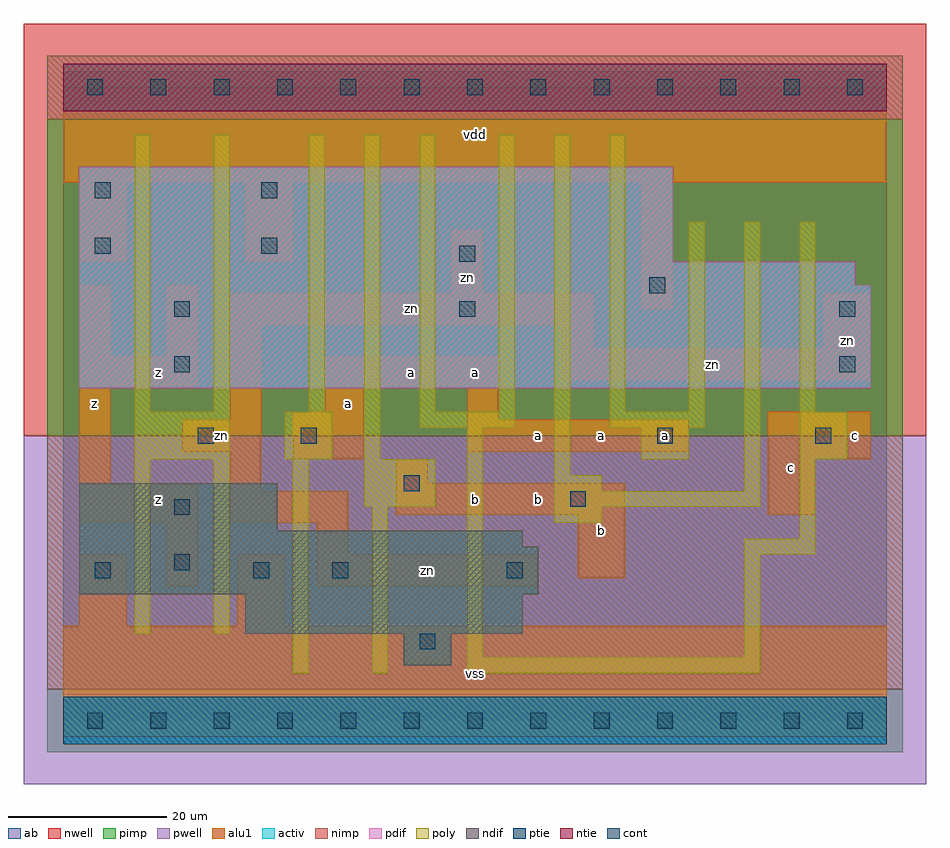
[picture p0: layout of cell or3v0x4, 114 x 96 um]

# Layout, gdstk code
import gdstk
lib = gdstk.Library(unit=1e-6, precision=1e-09)
def R(c, l, rs):  # rectangles x0, y0, x1, y1
    for r in rs: c.add(gdstk.rectangle(r[:2], r[2:], *l))
def A(c, l, x, y, w, h, nx, ny, dx, dy):  # array of equal rectangles
    R(c, l, [(x+i*dx, y+j*dy, x+i*dx+w, y+j*dy+h) for i in range(nx) for j in range(ny)])
ndif = (3, 0)
pdif = (4, 0)
ntie = (5, 0)
ptie = (6, 0)
cont = (25, 0)
pwell = (41, 0)
nwell = (42, 0)
activ = (43, 0)
pimp = (44, 0)
nimp = (45, 0)
poly = (46, 0)
alu1 = (49, 0)
ab = (63, 0)

or3v0x4 = lib.new_cell('or3v0x4')
R(or3v0x4, ndif, [(43,7,49,11), (23,11,58,16), (2,16,60,22), (2,22,58,24), (2,24,27,30)])
R(or3v0x4, pdif, [(2,42,102,55), (2,55,100,58), (2,58,77,70)])
R(or3v0x4, ntie, [(0,77,104,83)])
R(or3v0x4, ptie, [(0,-3,104,3)])
A(or3v0x4, cont, 3, -1, 2, 2, 13, 2, 8, 80)
R(or3v0x4, cont, [(45,9,47,11), (4,18,6,20), (24,18,26,20), (34,18,36,20), (56,18,58,20), (14,19,16,21), (14,26,16,28), (64,27,66,29), (43,29,45,31), (17,35,19,37), (30,35,32,37), (75,35,77,37), (95,35,97,37), (14,44,16,46), (98,44,100,46), (14,51,16,53), (50,51,52,53), (98,51,100,53), (74,54,76,56), (50,58,52,60), (4,59,6,61), (25,59,27,61), (4,66,6,68), (25,66,27,68)])
R(or3v0x4, pwell, [(-5,-8,109,36)])
R(or3v0x4, nwell, [(-5,36,109,88)])
R(or3v0x4, activ, [(0,-3,104,3), (43,7,49,11), (23,11,58,16), (2,16,60,22), (2,22,58,24), (2,24,27,30), (2,42,102,55), (2,55,100,58), (2,58,77,70), (0,77,104,83)])
R(or3v0x4, pimp, [(-2,-4,106,4), (-2,36,106,76)])
R(or3v0x4, nimp, [(-2,4,106,36), (-2,76,106,84)])
R(or3v0x4, poly, [(29,6,31,33), (39,6,41,27), (51,6,88,8), (51,8,53,37), (86,8,88,21), (9,11,11,33), (19,11,21,33), (86,21,95,23), (93,23,95,33), (62,25,68,27), (38,27,47,33), (62,27,88,29), (62,29,68,31), (86,29,88,63), (62,31,64,74), (9,33,21,39), (28,33,34,39), (38,33,40,74), (73,33,79,37), (93,33,99,39), (45,37,57,39), (69,37,81,39), (9,39,11,74), (19,39,21,74), (31,39,33,74), (45,39,47,74), (55,39,57,74), (69,39,71,74), (79,39,81,63), (93,39,95,63)])
R(or3v0x4, alu1, [(0,-2,104,12), (2,12,8,21), (22,12,28,21), (13,17,17,25), (32,17,60,21), (65,18,71,26), (32,21,36,25), (2,25,17,30), (21,25,36,29), (42,26,71,30), (89,26,95,33), (21,29,25,34), (2,30,6,42), (42,30,46,33), (29,33,38,39), (89,33,102,39), (15,34,25,38), (51,34,79,38), (21,38,25,50), (51,38,55,42), (33,39,38,42), (2,42,17,46), (33,42,55,46), (63,43,102,47), (2,46,6,55), (13,46,17,55), (63,47,67,50), (96,47,102,54), (21,50,67,54), (73,52,77,68), (49,54,53,62), (2,58,8,68), (23,58,29,68), (0,68,104,82)])
R(or3v0x4, ab, [(0,0,104,80)])
or3v0x4.add(gdstk.Label('zn', (20,36), layer=49, texttype=0))
or3v0x4.add(gdstk.Label('zn', (46,19), layer=49, texttype=0))
or3v0x4.add(gdstk.Label('zn', (44,52), layer=49, texttype=0))
or3v0x4.add(gdstk.Label('zn', (51,56), layer=49, texttype=0))
or3v0x4.add(gdstk.Label('zn', (82,45), layer=49, texttype=0))
or3v0x4.add(gdstk.Label('zn', (99,48), layer=49, texttype=0))
or3v0x4.add(gdstk.Label('z', (12,28), layer=49, texttype=0))
or3v0x4.add(gdstk.Label('z', (12,44), layer=49, texttype=0))
or3v0x4.add(gdstk.Label('z', (4,40), layer=49, texttype=0))
or3v0x4.add(gdstk.Label('a', (36,40), layer=49, texttype=0))
or3v0x4.add(gdstk.Label('a', (44,44), layer=49, texttype=0))
or3v0x4.add(gdstk.Label('vss', (52,6), layer=49, texttype=0))
or3v0x4.add(gdstk.Label('b', (52,28), layer=49, texttype=0))
or3v0x4.add(gdstk.Label('a', (68,36), layer=49, texttype=0))
or3v0x4.add(gdstk.Label('a', (76,36), layer=49, texttype=0))
or3v0x4.add(gdstk.Label('b', (68,24), layer=49, texttype=0))
or3v0x4.add(gdstk.Label('a', (60,36), layer=49, texttype=0))
or3v0x4.add(gdstk.Label('b', (60,28), layer=49, texttype=0))
or3v0x4.add(gdstk.Label('a', (52,44), layer=49, texttype=0))
or3v0x4.add(gdstk.Label('vdd', (52,74), layer=49, texttype=0))
or3v0x4.add(gdstk.Label('c', (100,36), layer=49, texttype=0))
or3v0x4.add(gdstk.Label('c', (92,32), layer=49, texttype=0))

lib.write_gds('or3v0x4.gds')
